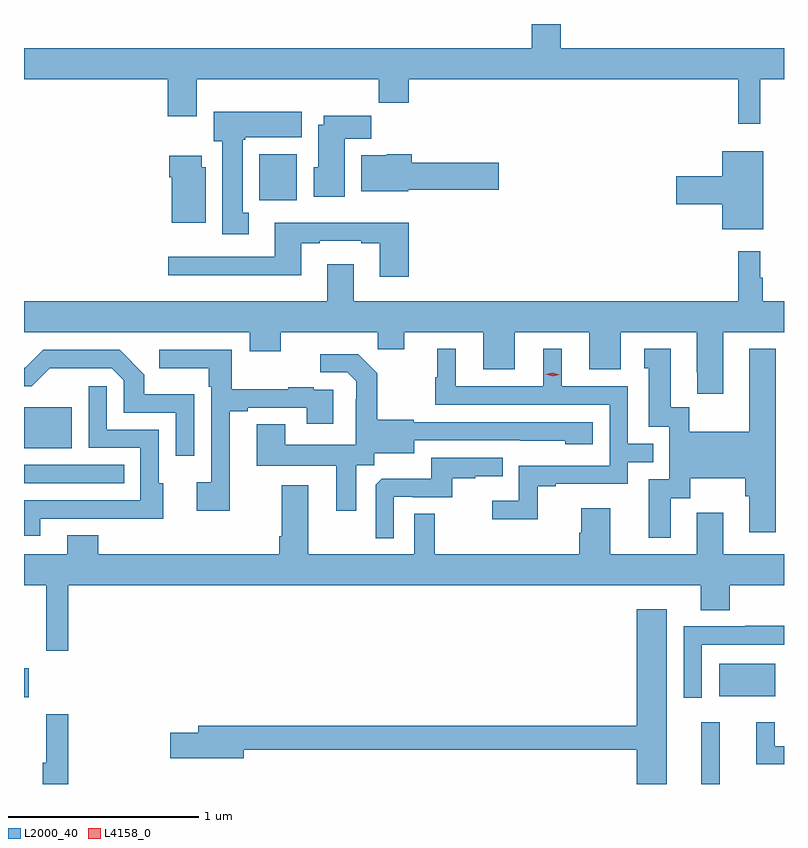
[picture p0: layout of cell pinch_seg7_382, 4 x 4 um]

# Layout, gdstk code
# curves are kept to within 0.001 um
import gdstk
lib = gdstk.Library(unit=1e-6, precision=1e-09)
def R(c, l, rs):  # rectangles x0, y0, x1, y1
    for r in rs: c.add(gdstk.rectangle(r[:2], r[2:], *l))
def P(c, l, *ps):  # polygons
    for p in ps: c.add(gdstk.Polygon(p, *l))
L2000_40 = (2000, 40)
L4158_0 = (4158, 0)

pinch_seg7_382 = lib.new_cell('pinch_seg7_382')
R(pinch_seg7_382, L2000_40, [(552.857,999.571,552.956,999.895), (549.293,1000.028,549.319,1000.18), (552.953,1000.034,553.246,1000.204), (549.293,1001.154,549.821,1001.25), (549.293,1001.339,549.544,1001.554), (550.532,1002.644,550.729,1002.886), (551.63,1003.569,551.788,1003.571)])
P(pinch_seg7_382, L2000_40, [(553.169,1003.28),(553.293,1003.28),(553.293,1003.444),(552.119,1003.444),(552.119,1003.571),(551.966,1003.571),(551.966,1003.444),(549.293,1003.444),(549.293,1003.28),(550.049,1003.28),(550.049,1003.086),(550.201,1003.086),(550.201,1003.28),(551.161,1003.28),(551.161,1003.156),(551.318,1003.156),(551.318,1003.28),(553.051,1003.28),(553.051,1003.047),(553.169,1003.047)],
  [(550.477,1002.578),(550.444,1002.578),(550.444,1002.961),(550.458,1002.961),(550.458,1002.974),(550.756,1002.974),(550.756,1003.108),(550.292,1003.108),(550.292,1002.954),(550.337,1002.954),(550.337,1002.465),(550.477,1002.465)],
  [(550.981,1002.968),(551.12,1002.968),(551.12,1003.087),(550.871,1003.087),(550.871,1003.042),(550.841,1003.042),(550.841,1002.816),(550.817,1002.816),(550.817,1002.662),(550.981,1002.662)],
  [(553.183,1002.901),(552.968,1002.901),(552.968,1002.77),(552.726,1002.77),(552.726,1002.623),(552.968,1002.623),(552.968,1002.491),(553.183,1002.491)],
  [(551.316,1002.698),(551.791,1002.698),(551.791,1002.84),(551.333,1002.84),(551.333,1002.886),(551.202,1002.886),(551.202,1002.88),(551.069,1002.88),(551.069,1002.692),(551.316,1002.692)],
  [(550.249,1002.816),(550.228,1002.816),(550.228,1002.877),(550.058,1002.877),(550.058,1002.764),(550.07,1002.764),(550.07,1002.524),(550.249,1002.524)],
  [(551.318,1002.526),(550.613,1002.526),(550.613,1002.345),(550.053,1002.345),(550.053,1002.248),(550.753,1002.248),(550.753,1002.417),(550.849,1002.417),(550.849,1002.429),(551.069,1002.429),(551.069,1002.417),(551.165,1002.417),(551.165,1002.24),(551.318,1002.24)],
  [(552.973,1001.948),(553.293,1001.948),(553.293,1002.112),(553.18,1002.112),(553.18,1002.236),(553.168,1002.236),(553.168,1002.376),(553.051,1002.376),(553.051,1002.112),(551.029,1002.112),(551.029,1002.307),(550.889,1002.307),(550.889,1002.112),(549.293,1002.112),(549.293,1001.948),(550.481,1001.948),(550.481,1001.849),(550.645,1001.849),(550.645,1001.948),(551.155,1001.948),(551.155,1001.858),(551.293,1001.858),(551.293,1001.948),(551.711,1001.948),(551.711,1001.754),(551.875,1001.754),(551.875,1001.948),(552.269,1001.948),(552.269,1001.754),(552.433,1001.754),(552.433,1001.948),(552.833,1001.948),(552.833,1001.737),(552.836,1001.737),(552.836,1001.625),(552.973,1001.625)],
  [(552.697,1001.074),(552.799,1001.074),(552.799,1001.18),(553.09,1001.18),(553.09,1001.085),(553.109,1001.085),(553.109,1000.896),(553.249,1000.896),(553.249,1001.863),(553.109,1001.863),(553.109,1001.425),(552.795,1001.425),(552.795,1001.555),(552.697,1001.555),(552.697,1001.863),(552.557,1001.863),(552.557,1001.76),(552.581,1001.76),(552.581,1001.451),(552.69,1001.451),(552.69,1001.175),(552.581,1001.175),(552.581,1000.866),(552.697,1000.866)],
  [(551.997,1001.139),(552.091,1001.139),(552.091,1001.151),(552.471,1001.151),(552.471,1001.265),(552.605,1001.265),(552.605,1001.361),(552.471,1001.361),(552.471,1001.664),(552.124,1001.664),(552.124,1001.863),(552.026,1001.863),(552.026,1001.664),(551.566,1001.664),(551.566,1001.863),(551.468,1001.863),(551.468,1001.712),(551.457,1001.712),(551.457,1001.568),(552.375,1001.568),(552.375,1001.247),(551.898,1001.247),(551.898,1001.062),(551.757,1001.062),(551.757,1000.964),(551.997,1000.964)],
  [(550.188,1001.623),(549.927,1001.623),(549.927,1001.726),(549.796,1001.856),(549.393,1001.856),(549.299,1001.762),(549.293,1001.762),(549.293,1001.664),(549.333,1001.664),(549.428,1001.759),(549.756,1001.76),(549.819,1001.697),(549.819,1001.526),(550.092,1001.526),(550.092,1001.298),(550.188,1001.298)],
  [(550.375,1001.532),(550.471,1001.532),(550.471,1001.55),(550.781,1001.55),(550.781,1001.466),(550.921,1001.466),(550.921,1001.646),(550.817,1001.646),(550.817,1001.659),(550.685,1001.659),(550.685,1001.648),(550.387,1001.648),(550.387,1001.856),(550.005,1001.856),(550.005,1001.759),(550.266,1001.759),(550.266,1001.663),(550.278,1001.663),(550.278,1001.158),(550.203,1001.158),(550.203,1001.01),(550.375,1001.01)],
  [(551.041,1001.248),(551.136,1001.248),(551.136,1001.312),(551.347,1001.312),(551.347,1001.379),(552.141,1001.378),(552.141,1001.36),(552.286,1001.36),(552.286,1001.475),(551.343,1001.475),(551.343,1001.488),(551.151,1001.488),(551.151,1001.733),(551.051,1001.833),(550.851,1001.833),(550.851,1001.739),(550.995,1001.739),(551.042,1001.692),(551.042,1001.597),(551.04,1001.597),(551.04,1001.356),(550.669,1001.356),(550.669,1001.465),(550.517,1001.465),(550.517,1001.246),(550.937,1001.246),(550.937,1001.01),(551.041,1001.01)],
  [(549.379,1000.968),(549.809,1000.968),(549.809,1000.967),(550.027,1000.967),(550.027,1001.154),(550.002,1001.154),(550.002,1001.436),(549.729,1001.436),(549.729,1001.665),(549.633,1001.665),(549.633,1001.34),(549.906,1001.34),(549.906,1001.064),(549.293,1001.064),(549.293,1000.878),(549.379,1000.878)],
  [(551.238,1001.082),(551.338,1001.082),(551.338,1001.079),(551.546,1001.079),(551.546,1001.181),(551.669,1001.181),(551.669,1001.192),(551.813,1001.192),(551.813,1001.289),(551.436,1001.289),(551.436,1001.177),(551.177,1001.177),(551.145,1001.145),(551.145,1000.865),(551.238,1000.865)],
  [(549.527,1000.616),(552.854,1000.616),(552.854,1000.486),(553.007,1000.486),(553.007,1000.616),(553.293,1000.616),(553.293,1000.78),(552.973,1000.78),(552.973,1000.999),(552.833,1000.999),(552.833,1000.78),(552.379,1000.78),(552.379,1001.023),(552.227,1001.023),(552.227,1000.893),(552.215,1000.893),(552.215,1000.78),(551.455,1000.78),(551.455,1000.994),(551.346,1000.994),(551.346,1000.78),(550.789,1000.78),(550.789,1001.143),(550.649,1001.143),(550.649,1000.876),(550.637,1000.876),(550.637,1000.78),(549.685,1000.78),(549.685,1000.879),(549.521,1000.879),(549.521,1000.78),(549.293,1000.78),(549.293,1000.616),(549.41,1000.616),(549.41,1000.272),(549.527,1000.272)],
  [(552.676,1000.492),(552.518,1000.492),(552.518,999.878),(550.211,999.878),(550.211,999.842),(550.062,999.842),(550.062,999.707),(550.45,999.707),(550.45,999.75),(552.518,999.75),(552.518,999.571),(552.676,999.571)],
  [(552.861,1000.305),(553.293,1000.305),(553.293,1000.403),(553.09,1000.403),(553.09,1000.401),(552.765,1000.401),(552.765,1000.026),(552.861,1000.026)],
  [(549.527,999.937),(549.41,999.937),(549.41,999.684),(549.391,999.684),(549.391,999.571),(549.527,999.571)],
  [(553.293,999.771),(553.245,999.771),(553.245,999.895),(553.148,999.895),(553.148,999.675),(553.293,999.675)])
P(pinch_seg7_382, L4158_0, [(552.075,1001.716),(552.04,1001.727),(552.039,1001.727),(552.04,1001.727),(552.075,1001.736),(552.11,1001.725),(552.111,1001.725),(552.11,1001.724)])

lib.write_gds('pinch_seg7_382.gds')
